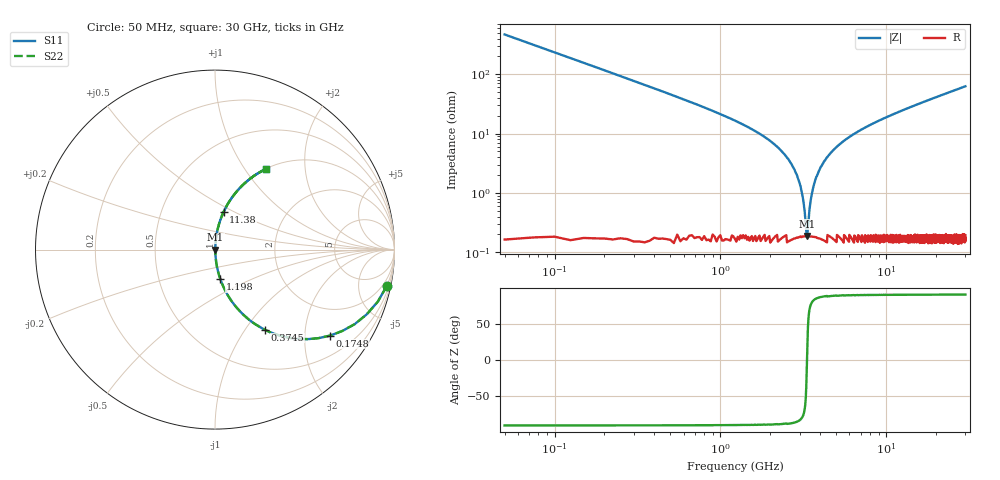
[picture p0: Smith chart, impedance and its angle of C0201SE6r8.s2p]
!	AVX Thin Film Operation 	Date: April 2014
!	Description: Accu-P® Series, Thin Film  SMD RF Capacitor
!	Part Number: 02013K6R8BBSTR
# MHZ S MA R 50
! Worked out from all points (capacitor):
!   1201 points, 50 MHz to 30 GHz, reference 50 ohm
!   read as one part in series: C = 6.8 pF near 199.8 MHz
!   lowest |Z| = 188 mohm at 3.32 GHz (marker M1)
!   series resonance near 3.327 GHz, so ESL is about 340 pH
!   S11 on the Smith chart (normalised r, x): 50 MHz: 1.00, -9.36; 174.8 MHz: 1.00, -2.67; 374.5 MHz: 1.00, -1.24; 1.198 GHz: 1.00, -0.34; 11.38 GHz: 1.00, +0.44; 30 GHz: 1.00, +1.25
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50  0.978 -12.1  0.209 77.9  0.209 77.9  0.978 -12.1
174.792  0.8 -36.8  0.599 53.1  0.599 53.1  0.8 -36.8
374.458  0.525 -58.2  0.85 31.6  0.85 31.6  0.525 -58.2
673.958  0.315 -71.3  0.947 18.4  0.947 18.4  0.315 -71.3
1198.083  0.167 -79.8  0.984 9.6  0.984 9.6  0.167 -79.8
2171.458  0.062 -84.9  0.996 3.5  0.996 3.5  0.062 -84.9
2695.583  0.03 -85.0  0.998 1.7  0.998 1.7  0.03 -85.0
2995.083  0.015 -82.6  0.998 0.8  0.998 0.8  0.015 -82.6
3219.708  0.004914 -69.4  0.998 0.3  0.998 0.3  0.004914 -69.4
3319.542  0.001737 -10.5  0.998 0.0  0.998 0.0  0.001737 -10.5
3419.375  0.004206 65.8  0.998 -0.2  0.998 -0.2  0.004206 65.8
3644  0.013 81.7  0.998 -0.7  0.998 -0.7  0.013 81.7
3893.583  0.022 84.3  0.998 -1.3  0.998 -1.3  0.022 84.3
4367.792  0.039 85.3  0.998 -2.2  0.998 -2.2  0.039 85.3
5041.667  0.06 84.9  0.996 -3.4  0.996 -3.4  0.06 84.9
6963.458  0.113 82.7  0.992 -6.5  0.992 -6.5  0.113 82.7
10058.29  0.186 78.8  0.981 -10.7  0.981 -10.7  0.186 78.8
11381.08  0.215 77.2  0.975 -12.4  0.975 -12.4  0.215 77.2
15025  0.289 72.9  0.956 -16.8  0.956 -16.8  0.289 72.9
20016.67  0.38 67.4  0.923 -22.3  0.923 -22.3  0.38 67.4
25033.29  0.461 62.4  0.886 -27.4  0.886 -27.4  0.461 62.4
30000  0.53 57.8  0.846 -32.0  0.846 -32.0  0.53 57.8
